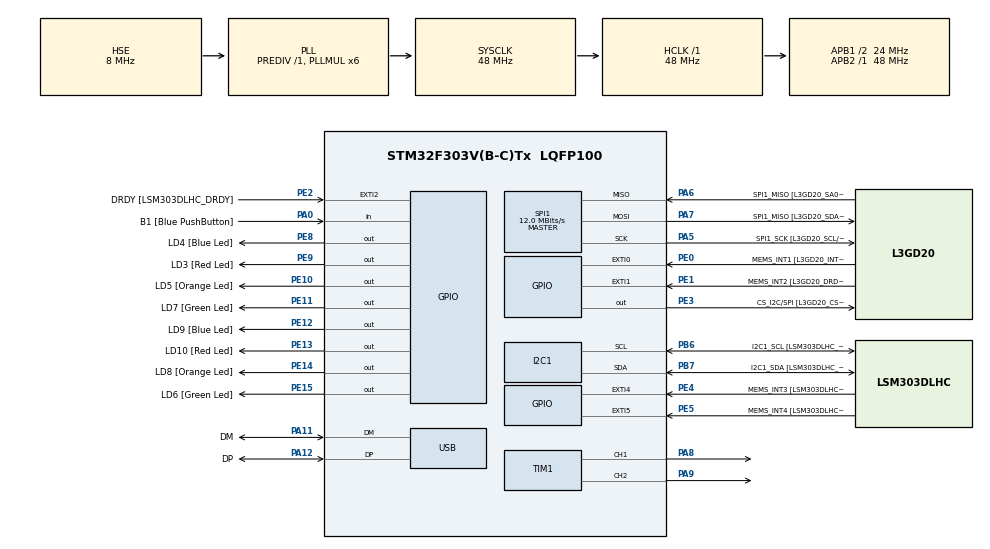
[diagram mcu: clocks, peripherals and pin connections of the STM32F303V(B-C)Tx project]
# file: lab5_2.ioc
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I2C1.Timing=0x2000090E
I2C1.Timing-I2C=0x2000090E
Mcu.Family=STM32F3
Mcu.Name=STM32F303V(B-C)Tx
Mcu.Package=LQFP100
NVIC.PriorityGroup=NVIC_PRIORITYGROUP_0
PA0.GPIO_Label=B1 [Blue PushButton]
PA0.Signal=GPIO_Input
PA11.GPIO_Label=DM
PA11.Mode=Device
PA11.Signal=USB_DM
PA12.GPIO_Label=DP
PA12.Mode=Device
PA12.Signal=USB_DP
PA13.GPIO_Label=SWDIO
PA13.Mode=Serial_Wire
PA13.Signal=SYS_JTMS-SWDIO
PA14.GPIO_Label=SWCLK
PA14.Mode=Serial_Wire
PA14.Signal=SYS_JTCK-SWCLK
PA5.GPIO_Label=SPI1_SCK [L3GD20_SCL/SPC]
PA5.Mode=Full_Duplex_Master
PA5.Signal=SPI1_SCK
PA6.GPIO_Label=SPI1_MISO [L3GD20_SA0/SDO]
PA6.Mode=Full_Duplex_Master
PA6.Signal=SPI1_MISO
PA7.GPIO_Label=SPI1_MISO [L3GD20_SDA/SDI/SDO]
PA7.Mode=Full_Duplex_Master
PA7.Signal=SPI1_MOSI
PA8.Signal=S_TIM1_CH1
PA9.Signal=S_TIM1_CH2
PB3.GPIO_Label=SWO
PB3.Signal=SYS_JTDO-TRACESWO
PB6.GPIO_Label=I2C1_SCL [LSM303DLHC_SCL]
PB6.GPIO_Pu=GPIO_PULLUP
PB6.Mode=I2C
PB6.Signal=I2C1_SCL
PB7.GPIO_Label=I2C1_SDA [LSM303DLHC_SDA]
PB7.GPIO_Pu=GPIO_PULLUP
PB7.Mode=I2C
PB7.Signal=I2C1_SDA
PC14-OSC32_IN.GPIO_Label=OSC32_IN
PC14-OSC32_IN.Signal=RCC_OSC32_IN
PC15-OSC32_OUT.GPIO_Label=OSC32_OUT
PC15-OSC32_OUT.Signal=RCC_OSC32_OUT
PE0.GPIO_Label=MEMS_INT1 [L3GD20_INT1]
PE0.GPIO_ModeDefaultEXTI=GPIO_MODE_EVT_RISING
PE0.Signal=GPXTI0
PE1.GPIO_Label=MEMS_INT2 [L3GD20_DRDY/INT2]
PE1.GPIO_ModeDefaultEXTI=GPIO_MODE_EVT_RISING
PE1.Signal=GPXTI1
PE10.GPIO_Label=LD5 [Orange Led]
PE10.Signal=GPIO_Output
PE11.GPIO_Label=LD7 [Green Led]
PE11.Signal=GPIO_Output
PE12.GPIO_Label=LD9 [Blue Led]
PE12.Signal=GPIO_Output
PE13.GPIO_Label=LD10 [Red Led]
PE13.Signal=GPIO_Output
PE14.GPIO_Label=LD8 [Orange Led]
PE14.Signal=GPIO_Output
PE15.GPIO_Label=LD6 [Green Led]
PE15.Signal=GPIO_Output
PE2.GPIO_Label=DRDY [LSM303DLHC_DRDY]
PE2.GPIO_ModeDefaultEXTI=GPIO_MODE_EVT_RISING
PE2.Signal=GPXTI2
PE3.GPIO_Label=CS_I2C/SPI [L3GD20_CS_I2C/SPI]
PE3.Signal=GPIO_Output
PE4.GPIO_Label=MEMS_INT3 [LSM303DLHC_INT1]
PE4.GPIO_ModeDefaultEXTI=GPIO_MODE_EVT_RISING
PE4.Signal=GPXTI4
PE5.GPIO_Label=MEMS_INT4 [LSM303DLHC_INT2]
PE5.GPIO_ModeDefaultEXTI=GPIO_MODE_EVT_RISING
PE5.Signal=GPXTI5
PE8.GPIO_Label=LD4 [Blue Led]
PE8.Signal=GPIO_Output
PE9.GPIO_Label=LD3 [Red Led]
PE9.Signal=GPIO_Output
PF0-OSC_IN.GPIO_Label=OSC_IN
PF0-OSC_IN.Mode=HSE-External-Clock-Source
PF0-OSC_IN.Signal=RCC_OSC_IN
PF1-OSC_OUT.GPIO_Label=OSC_OUT
PF1-OSC_OUT.Signal=RCC_OSC_OUT
ProjectManager.HeapSize=0x200
ProjectManager.StackSize=0x400
ProjectManager.TargetToolchain=STM32CubeIDE
RCC.AHBFreq_Value=48000000
RCC.APB1CLKDivider=RCC_HCLK_DIV2
RCC.APB1Freq_Value=24000000
RCC.APB1TimFreq_Value=48000000
RCC.APB2Freq_Value=48000000
RCC.APB2TimFreq_Value=48000000
RCC.CortexFreq_Value=48000000
RCC.HCLKFreq_Value=48000000
RCC.HSE_VALUE=8000000
RCC.HSI_VALUE=8000000
RCC.LSE_VALUE=32768
RCC.PLLMUL=RCC_PLL_MUL6
RCC.SYSCLKFreq_VALUE=48000000
RCC.SYSCLKSourceVirtual=RCC_SYSCLKSOURCE_PLLCLK
RCC.USBFreq_Value=48000000
SH.S_TIM1_CH1.0=TIM1_CH1,PWM Generation1 CH1
SH.S_TIM1_CH2.0=TIM1_CH2,PWM Generation2 CH2
SPI1.BaudRatePrescaler=SPI_BAUDRATEPRESCALER_4
SPI1.BaudRatePrescaler-Full_Duplex_Master=SPI_BAUDRATEPRESCALER_2
SPI1.CalculateBaudRate=12.0 MBits/s
SPI1.CalculateBaudRate-Full_Duplex_Master=24.0 MBits/s
SPI1.Direction=SPI_DIRECTION_2LINES
SPI1.Mode=SPI_MODE_MASTER
SPI1.Mode-Full_Duplex_Master=SPI_MODE_MASTER
SPI1.VirtualType=VM_MASTER
TIM1.Channel-PWM\ Generation1\ CH1=TIM_CHANNEL_1
TIM1.Channel-PWM\ Generation2\ CH2=TIM_CHANNEL_2
VP_TIM1_VS_ClockSourceINT.Mode=Internal
board=STM32F3DISCOVERY

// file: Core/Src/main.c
/* USER CODE BEGIN Header */
/**
  ******************************************************************************
  * @file           : main.c
  * @brief          : Main program body
  ******************************************************************************
  * @attention
  *
  * Copyright (c) 2023 STMicroelectronics.
  * All rights reserved.
  *
  * This software is licensed under terms that can be found in the LICENSE file
  * in the root directory of this software component.
  * If no LICENSE file comes with this software, it is provided AS-IS.
  *
  ******************************************************************************
  */
/* USER CODE END Header */
#include "main.h"

I2C_HandleTypeDef hi2c1;

SPI_HandleTypeDef hspi1;

TIM_HandleTypeDef htim1;

PCD_HandleTypeDef hpcd_USB_FS;

void SystemClock_Config(void);
static void MX_GPIO_Init(void);
static void MX_I2C1_Init(void);
static void MX_SPI1_Init(void);
static void MX_USB_PCD_Init(void);
static void MX_TIM1_Init(void);

/* USER CODE BEGIN 0 */

TIM_HandleTypeDef *buzzerPwmTimer;
uint32_t buzzerPwmChannel;

void buzzerInit() {
    buzzerPwmTimer = &htim1;
    buzzerPwmChannel = TIM_CHANNEL_1;
    HAL_TIM_PWM_Start(buzzerPwmTimer, buzzerPwmChannel);
}

void buzzerChangeTone(uint16_t freq, uint16_t volume) {
    if (freq == 0 || freq > 20000) {
        __HAL_TIM_SET_COMPARE(buzzerPwmTimer, buzzerPwmChannel, 0);
    } else {
        const uint32_t internalClockFreq = HAL_RCC_GetSysClockFreq();
        const uint32_t prescaler = 1 + internalClockFreq / freq / 60000;
        const uint32_t timerClock = internalClockFreq / prescaler;
        const uint32_t periodCycles = timerClock / freq;
        const uint32_t pulseWidth = volume * periodCycles / 1000 / 2;

        buzzerPwmTimer->Instance->PSC = prescaler - 1;
        buzzerPwmTimer->Instance->ARR = periodCycles - 1;
        buzzerPwmTimer->Instance->EGR = TIM_EGR_UG;

        __HAL_TIM_SET_COMPARE(buzzerPwmTimer, buzzerPwmChannel, pulseWidth);
    }
}

/* USER CODE END 0 */

int main(void)
{
  /* USER CODE BEGIN 1 */
  buzzerInit();
  buzzerChangeTone(500, 10);
  /* USER CODE END 1 */

  /* MCU Configuration--------------------------------------------------------*/

  /* Reset of all peripherals, Initializes the Flash interface and the Systick. */
  HAL_Init();

  /* Configure the system clock */
  SystemClock_Config();

  /* Initialize all configured peripherals */
  MX_GPIO_Init();
  MX_I2C1_Init();
  MX_SPI1_Init();
  MX_USB_PCD_Init();
  MX_TIM1_Init();

  /* Infinite loop */
  while (1)
  {

  }
}

void SystemClock_Config(void)
{
  RCC_OscInitTypeDef RCC_OscInitStruct = {0};
  RCC_ClkInitTypeDef RCC_ClkInitStruct = {0};
  RCC_PeriphCLKInitTypeDef PeriphClkInit = {0};

  /** Initializes the RCC Oscillators according to the specified parameters
  * in the RCC_OscInitTypeDef structure.
  */
  RCC_OscInitStruct.OscillatorType = RCC_OSCILLATORTYPE_HSI|RCC_OSCILLATORTYPE_HSE;
  RCC_OscInitStruct.HSEState = RCC_HSE_BYPASS;
  RCC_OscInitStruct.HSEPredivValue = RCC_HSE_PREDIV_DIV1;
  RCC_OscInitStruct.HSIState = RCC_HSI_ON;
  RCC_OscInitStruct.HSICalibrationValue = RCC_HSICALIBRATION_DEFAULT;
  RCC_OscInitStruct.PLL.PLLState = RCC_PLL_ON;
  RCC_OscInitStruct.PLL.PLLSource = RCC_PLLSOURCE_HSE;
  RCC_OscInitStruct.PLL.PLLMUL = RCC_PLL_MUL6;
  if (HAL_RCC_OscConfig(&RCC_OscInitStruct) != HAL_OK)
  {
    Error_Handler();
  }

  /** Initializes the CPU, AHB and APB buses clocks
  */
  RCC_ClkInitStruct.ClockType = RCC_CLOCKTYPE_HCLK|RCC_CLOCKTYPE_SYSCLK
                              |RCC_CLOCKTYPE_PCLK1|RCC_CLOCKTYPE_PCLK2;
  RCC_ClkInitStruct.SYSCLKSource = RCC_SYSCLKSOURCE_PLLCLK;
  RCC_ClkInitStruct.AHBCLKDivider = RCC_SYSCLK_DIV1;
  RCC_ClkInitStruct.APB1CLKDivider = RCC_HCLK_DIV2;
  RCC_ClkInitStruct.APB2CLKDivider = RCC_HCLK_DIV1;

  if (HAL_RCC_ClockConfig(&RCC_ClkInitStruct, FLASH_LATENCY_1) != HAL_OK)
  {
    Error_Handler();
  }
  PeriphClkInit.PeriphClockSelection = RCC_PERIPHCLK_USB|RCC_PERIPHCLK_I2C1
                              |RCC_PERIPHCLK_TIM1;
  PeriphClkInit.I2c1ClockSelection = RCC_I2C1CLKSOURCE_HSI;
  PeriphClkInit.USBClockSelection = RCC_USBCLKSOURCE_PLL;
  PeriphClkInit.Tim1ClockSelection = RCC_TIM1CLK_HCLK;
  if (HAL_RCCEx_PeriphCLKConfig(&PeriphClkInit) != HAL_OK)
  {
    Error_Handler();
  }
}

static void MX_I2C1_Init(void)
{

  hi2c1.Instance = I2C1;
  hi2c1.Init.Timing = 0x2000090E;
  hi2c1.Init.OwnAddress1 = 0;
  hi2c1.Init.AddressingMode = I2C_ADDRESSINGMODE_7BIT;
  hi2c1.Init.DualAddressMode = I2C_DUALADDRESS_DISABLE;
  hi2c1.Init.OwnAddress2 = 0;
  hi2c1.Init.OwnAddress2Masks = I2C_OA2_NOMASK;
  hi2c1.Init.GeneralCallMode = I2C_GENERALCALL_DISABLE;
  hi2c1.Init.NoStretchMode = I2C_NOSTRETCH_DISABLE;
  if (HAL_I2C_Init(&hi2c1) != HAL_OK)
  {
    Error_Handler();
  }

  /** Configure Analogue filter
  */
  if (HAL_I2CEx_ConfigAnalogFilter(&hi2c1, I2C_ANALOGFILTER_ENABLE) != HAL_OK)
  {
    Error_Handler();
  }

  /** Configure Digital filter
  */
  if (HAL_I2CEx_ConfigDigitalFilter(&hi2c1, 0) != HAL_OK)
  {
    Error_Handler();
  }

}

static void MX_SPI1_Init(void)
{

  /* SPI1 parameter configuration*/
  hspi1.Instance = SPI1;
  hspi1.Init.Mode = SPI_MODE_MASTER;
  hspi1.Init.Direction = SPI_DIRECTION_2LINES;
  hspi1.Init.DataSize = SPI_DATASIZE_4BIT;
  hspi1.Init.CLKPolarity = SPI_POLARITY_LOW;
  hspi1.Init.CLKPhase = SPI_PHASE_1EDGE;
  hspi1.Init.NSS = SPI_NSS_SOFT;
  hspi1.Init.BaudRatePrescaler = SPI_BAUDRATEPRESCALER_4;
  hspi1.Init.FirstBit = SPI_FIRSTBIT_MSB;
  hspi1.Init.TIMode = SPI_TIMODE_DISABLE;
  hspi1.Init.CRCCalculation = SPI_CRCCALCULATION_DISABLE;
  hspi1.Init.CRCPolynomial = 7;
  hspi1.Init.CRCLength = SPI_CRC_LENGTH_DATASIZE;
  hspi1.Init.NSSPMode = SPI_NSS_PULSE_ENABLE;
  if (HAL_SPI_Init(&hspi1) != HAL_OK)
  {
    Error_Handler();
  }

}

static void MX_TIM1_Init(void)
{

  TIM_ClockConfigTypeDef sClockSourceConfig = {0};
  TIM_MasterConfigTypeDef sMasterConfig = {0};
  TIM_OC_InitTypeDef sConfigOC = {0};
  TIM_BreakDeadTimeConfigTypeDef sBreakDeadTimeConfig = {0};

  htim1.Instance = TIM1;
  htim1.Init.Prescaler = 0;
  htim1.Init.CounterMode = TIM_COUNTERMODE_UP;
  htim1.Init.Period = 65535;
  htim1.Init.ClockDivision = TIM_CLOCKDIVISION_DIV1;
  htim1.Init.RepetitionCounter = 0;
  htim1.Init.AutoReloadPreload = TIM_AUTORELOAD_PRELOAD_DISABLE;
  if (HAL_TIM_Base_Init(&htim1) != HAL_OK)
  {
    Error_Handler();
  }
  sClockSourceConfig.ClockSource = TIM_CLOCKSOURCE_INTERNAL;
  if (HAL_TIM_ConfigClockSource(&htim1, &sClockSourceConfig) != HAL_OK)
  {
    Error_Handler();
  }
  if (HAL_TIM_PWM_Init(&htim1) != HAL_OK)
  {
    Error_Handler();
  }
  sMasterConfig.MasterOutputTrigger = TIM_TRGO_RESET;
  sMasterConfig.MasterOutputTrigger2 = TIM_TRGO2_RESET;
  sMasterConfig.MasterSlaveMode = TIM_MASTERSLAVEMODE_DISABLE;
  if (HAL_TIMEx_MasterConfigSynchronization(&htim1, &sMasterConfig) != HAL_OK)
  {
    Error_Handler();
  }
  sConfigOC.OCMode = TIM_OCMODE_PWM1;
  sConfigOC.Pulse = 0;
  sConfigOC.OCPolarity = TIM_OCPOLARITY_HIGH;
  sConfigOC.OCNPolarity = TIM_OCNPOLARITY_HIGH;
  sConfigOC.OCFastMode = TIM_OCFAST_DISABLE;
  sConfigOC.OCIdleState = TIM_OCIDLESTATE_RESET;
  sConfigOC.OCNIdleState = TIM_OCNIDLESTATE_RESET;
  if (HAL_TIM_PWM_ConfigChannel(&htim1, &sConfigOC, TIM_CHANNEL_1) != HAL_OK)
  {
    Error_Handler();
  }
  if (HAL_TIM_PWM_ConfigChannel(&htim1, &sConfigOC, TIM_CHANNEL_2) != HAL_OK)
  {
    Error_Handler();
  }
  sBreakDeadTimeConfig.OffStateRunMode = TIM_OSSR_DISABLE;
  sBreakDeadTimeConfig.OffStateIDLEMode = TIM_OSSI_DISABLE;
  sBreakDeadTimeConfig.LockLevel = TIM_LOCKLEVEL_OFF;
  sBreakDeadTimeConfig.DeadTime = 0;
  sBreakDeadTimeConfig.BreakState = TIM_BREAK_DISABLE;
  sBreakDeadTimeConfig.BreakPolarity = TIM_BREAKPOLARITY_HIGH;
  sBreakDeadTimeConfig.BreakFilter = 0;
  sBreakDeadTimeConfig.Break2State = TIM_BREAK2_DISABLE;
  sBreakDeadTimeConfig.Break2Polarity = TIM_BREAK2POLARITY_HIGH;
  sBreakDeadTimeConfig.Break2Filter = 0;
  sBreakDeadTimeConfig.AutomaticOutput = TIM_AUTOMATICOUTPUT_DISABLE;
  if (HAL_TIMEx_ConfigBreakDeadTime(&htim1, &sBreakDeadTimeConfig) != HAL_OK)
  {
    Error_Handler();
  }
  HAL_TIM_MspPostInit(&htim1);

}

static void MX_USB_PCD_Init(void)
{

  hpcd_USB_FS.Instance = USB;
  hpcd_USB_FS.Init.dev_endpoints = 8;
  hpcd_USB_FS.Init.speed = PCD_SPEED_FULL;
  hpcd_USB_FS.Init.phy_itface = PCD_PHY_EMBEDDED;
  hpcd_USB_FS.Init.low_power_enable = DISABLE;
  hpcd_USB_FS.Init.battery_charging_enable = DISABLE;
  if (HAL_PCD_Init(&hpcd_USB_FS) != HAL_OK)
  {
    Error_Handler();
  }

}

static void MX_GPIO_Init(void)
{
  GPIO_InitTypeDef GPIO_InitStruct = {0};

  /* GPIO Ports Clock Enable */
  __HAL_RCC_GPIOE_CLK_ENABLE();
  __HAL_RCC_GPIOC_CLK_ENABLE();
  __HAL_RCC_GPIOF_CLK_ENABLE();
  __HAL_RCC_GPIOA_CLK_ENABLE();
  __HAL_RCC_GPIOB_CLK_ENABLE();

  /*Configure GPIO pin Output Level */
  HAL_GPIO_WritePin(GPIOE, CS_I2C_SPI_Pin|LD4_Pin|LD3_Pin|LD5_Pin
                          |LD7_Pin|LD9_Pin|LD10_Pin|LD8_Pin
                          |LD6_Pin, GPIO_PIN_RESET);

  /*Configure GPIO pins : DRDY_Pin MEMS_INT3_Pin MEMS_INT4_Pin MEMS_INT1_Pin
                           MEMS_INT2_Pin */
  GPIO_InitStruct.Pin = DRDY_Pin|MEMS_INT3_Pin|MEMS_INT4_Pin|MEMS_INT1_Pin
                          |MEMS_INT2_Pin;
  GPIO_InitStruct.Mode = GPIO_MODE_EVT_RISING;
  GPIO_InitStruct.Pull = GPIO_NOPULL;
  HAL_GPIO_Init(GPIOE, &GPIO_InitStruct);

  /*Configure GPIO pins : CS_I2C_SPI_Pin LD4_Pin LD3_Pin LD5_Pin
                           LD7_Pin LD9_Pin LD10_Pin LD8_Pin
                           LD6_Pin */
  GPIO_InitStruct.Pin = CS_I2C_SPI_Pin|LD4_Pin|LD3_Pin|LD5_Pin
                          |LD7_Pin|LD9_Pin|LD10_Pin|LD8_Pin
                          |LD6_Pin;
  GPIO_InitStruct.Mode = GPIO_MODE_OUTPUT_PP;
  GPIO_InitStruct.Pull = GPIO_NOPULL;
  GPIO_InitStruct.Speed = GPIO_SPEED_FREQ_LOW;
  HAL_GPIO_Init(GPIOE, &GPIO_InitStruct);

  /*Configure GPIO pin : B1_Pin */
  GPIO_InitStruct.Pin = B1_Pin;
  GPIO_InitStruct.Mode = GPIO_MODE_INPUT;
  GPIO_InitStruct.Pull = GPIO_NOPULL;
  HAL_GPIO_Init(B1_GPIO_Port, &GPIO_InitStruct);

}

void Error_Handler(void)
{
  __disable_irq();
  while (1)
  {
  }
}
